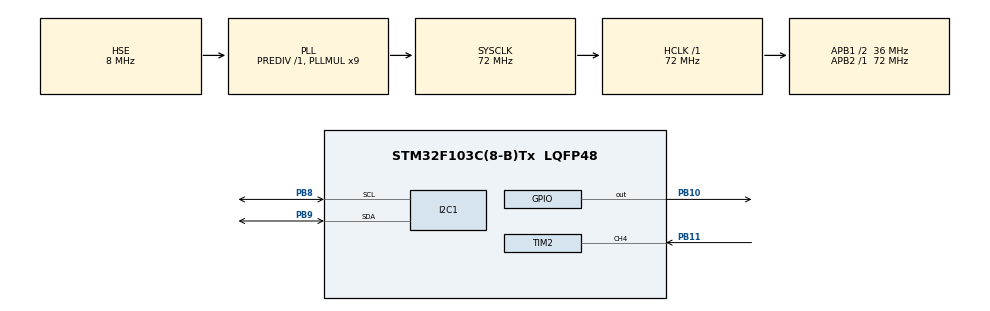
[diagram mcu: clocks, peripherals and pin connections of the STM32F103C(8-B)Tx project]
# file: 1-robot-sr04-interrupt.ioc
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Mcu.Family=STM32F1
Mcu.Name=STM32F103C(8-B)Tx
Mcu.Package=LQFP48
NVIC.PriorityGroup=NVIC_PRIORITYGROUP_4
NVIC.TIM2_IRQn=true\:0\:0\:false\:false\:true\:true\:true\:true
PB10.Signal=GPIO_Output
PB11.Signal=S_TIM2_CH4
PB8.Mode=I2C
PB8.Signal=I2C1_SCL
PB9.Mode=I2C
PB9.Signal=I2C1_SDA
PD0-OSC_IN.Mode=HSE-External-Oscillator
PD0-OSC_IN.Signal=RCC_OSC_IN
PD1-OSC_OUT.Mode=HSE-External-Oscillator
PD1-OSC_OUT.Signal=RCC_OSC_OUT
ProjectManager.HeapSize=0x200
ProjectManager.StackSize=0x400
ProjectManager.TargetToolchain=STM32CubeIDE
RCC.AHBFreq_Value=72000000
RCC.APB1CLKDivider=RCC_HCLK_DIV2
RCC.APB1Freq_Value=36000000
RCC.APB1TimFreq_Value=72000000
RCC.APB2Freq_Value=72000000
RCC.APB2TimFreq_Value=72000000
RCC.HCLKFreq_Value=72000000
RCC.PLLMUL=RCC_PLL_MUL9
RCC.PLLSourceVirtual=RCC_PLLSOURCE_HSE
RCC.SYSCLKFreq_VALUE=72000000
RCC.SYSCLKSource=RCC_SYSCLKSOURCE_PLLCLK
RCC.USBFreq_Value=72000000
SH.S_TIM2_CH4.0=TIM2_CH4,Input_Capture4_from_TI4
TIM2.Channel-Input_Capture4_from_TI4=TIM_CHANNEL_4
TIM2.Prescaler=72-1
VP_SYS_VS_ND.Mode=No_Debug
board=custom

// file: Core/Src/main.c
/* USER CODE BEGIN Header */
/**
  ******************************************************************************
  * @file           : main.c
  * @brief          : Main program body
  ******************************************************************************
  * @attention
  *
  * Copyright (c) 2026 STMicroelectronics.
  * All rights reserved.
  *
  * This software is licensed under terms that can be found in the LICENSE file
  * in the root directory of this software component.
  * If no LICENSE file comes with this software, it is provided AS-IS.
  *
  ******************************************************************************
  */
/* USER CODE END Header */
#include "main.h"

/* USER CODE BEGIN Includes */
#include "ssd1306.h"
#include "ssd1306_tests.h"
#include "ssd1306_fonts.h"
/* USER CODE END Includes */

I2C_HandleTypeDef hi2c1;

TIM_HandleTypeDef htim2;

/* USER CODE BEGIN PV */
uint32_t ic_val1 = 0;
uint32_t ic_val2 = 0;
uint8_t  is_first_capture = 0;
uint32_t distance = 0;

uint32_t last_display = 0;
uint32_t last_trigger = 0;

static char buf[32];
/* USER CODE END PV */

void SystemClock_Config(void);
static void MX_GPIO_Init(void);
static void MX_I2C1_Init(void);
static void MX_TIM2_Init(void);

/* USER CODE BEGIN 0 */
void DWT_Init(void)
{
    CoreDebug->DEMCR |= CoreDebug_DEMCR_TRCENA_Msk;
    DWT->CTRL |= DWT_CTRL_CYCCNTENA_Msk;
}

void delay_us(uint32_t us)
{
    uint32_t cycles = (SystemCoreClock / 1000000) * us;
    uint32_t start = DWT->CYCCNT;

    while ((DWT->CYCCNT - start) < cycles);
}

/*
 //it will reset timer 2 so it's not good
void delay (uint16_t time)
{
	__HAL_TIM_SET_COUNTER(&htim2, 0);
	while (__HAL_TIM_GET_COUNTER (&htim2) < time);
}*/

void HCSR04_Trigger(void)
{
    HAL_GPIO_WritePin(GPIOB, GPIO_PIN_10, GPIO_PIN_SET);
    delay_us(10);   // must be real microsecond delay
    HAL_GPIO_WritePin(GPIOB, GPIO_PIN_10, GPIO_PIN_RESET);
}

void HAL_TIM_IC_CaptureCallback(TIM_HandleTypeDef *htim)
{
    if (htim->Instance == TIM2 && htim->Channel == HAL_TIM_ACTIVE_CHANNEL_4)
    {
        if (is_first_capture == 0)
        {
            ic_val1 = HAL_TIM_ReadCapturedValue(htim, TIM_CHANNEL_4);
            is_first_capture = 1;

            // Switch to falling edge
            __HAL_TIM_SET_CAPTUREPOLARITY(htim, TIM_CHANNEL_4, TIM_INPUTCHANNELPOLARITY_FALLING);
        }
        else
        {
            ic_val2 = HAL_TIM_ReadCapturedValue(htim, TIM_CHANNEL_4);

            __HAL_TIM_SET_COUNTER(htim, 0);

            if (ic_val2 > ic_val1)
                distance = ic_val2 - ic_val1;
            else
                distance = (0xFFFF - ic_val1) + ic_val2;

            // Convert to cm
            distance = (distance * 0.0343) / 2;

            is_first_capture = 0;

            // Back to rising edge
            __HAL_TIM_SET_CAPTUREPOLARITY(htim, TIM_CHANNEL_4, TIM_INPUTCHANNELPOLARITY_RISING);
        }
    }
}

void FormatDistance(float distance, char *buf)
{
    int intPart = (int)distance;                  // 123
    int fracPart = (int)((distance - intPart) * 10); // 0.4 -> 4

    // simple formatting into buf
    buf[0] = (intPart / 100) % 10 + '0';
    buf[1] = (intPart / 10) % 10 + '0';
    buf[2] = intPart % 10 + '0';
    buf[3] = '.';
    buf[4] = fracPart % 10 + '0';
    buf[5] = ' ';
    buf[6] = 'c';
    buf[7] = 'm';
    buf[8] = 0; // null-terminate
}

void ssd1306_ShowDistance(float dist)
{
    //float dist = SR04_GetDistanceCm_IT();  // get result from interrupt logic

    ssd1306_Fill(Black);

    // Title
    ssd1306_SetCursor(0, 0);
    ssd1306_WriteString("SR04 Distance", Font_7x10, White);

    ssd1306_SetCursor(0, 16);

    if (dist < 0)
    {
        ssd1306_WriteString("Measuring...", Font_11x18, White);
    }
    else
    {
        // Format text: "123.4 cm"
//    	ssd1306_WriteString("not measuring ...", Font_11x18, White);
//        snprintf(buf, sizeof(buf), "%.1f cm", dist);
        FormatDistance(dist, buf);
        ssd1306_WriteString(buf, Font_16x26, White);
    }

    ssd1306_UpdateScreen();
}
/* USER CODE END 0 */

int main(void)
{

  /* MCU Configuration--------------------------------------------------------*/

  /* Reset of all peripherals, Initializes the Flash interface and the Systick. */
  HAL_Init();

  /* Configure the system clock */
  SystemClock_Config();

  /* Initialize all configured peripherals */
  MX_GPIO_Init();
  MX_I2C1_Init();
  MX_TIM2_Init();
  /* USER CODE BEGIN 2 */
  DWT_Init();
  ssd1306_Init();
  HAL_TIM_IC_Start_IT(&htim2, TIM_CHANNEL_4);
  /* USER CODE END 2 */

  /* Infinite loop */
  /* USER CODE BEGIN WHILE */
  while (1)
  {
	  //ssd1306_TestAll();

	  if (HAL_GetTick() - last_trigger >= 60)
	  {
	          last_trigger = HAL_GetTick();
	          HCSR04_Trigger();
	  }

	  if(HAL_GetTick() - last_display > 200)
	  {
	          last_display = HAL_GetTick();
	          ssd1306_ShowDistance(distance);
	  }

    /* USER CODE END WHILE */

  }
}

void SystemClock_Config(void)
{
  RCC_OscInitTypeDef RCC_OscInitStruct = {0};
  RCC_ClkInitTypeDef RCC_ClkInitStruct = {0};

  /** Initializes the RCC Oscillators according to the specified parameters
  * in the RCC_OscInitTypeDef structure.
  */
  RCC_OscInitStruct.OscillatorType = RCC_OSCILLATORTYPE_HSE;
  RCC_OscInitStruct.HSEState = RCC_HSE_ON;
  RCC_OscInitStruct.HSEPredivValue = RCC_HSE_PREDIV_DIV1;
  RCC_OscInitStruct.HSIState = RCC_HSI_ON;
  RCC_OscInitStruct.PLL.PLLState = RCC_PLL_ON;
  RCC_OscInitStruct.PLL.PLLSource = RCC_PLLSOURCE_HSE;
  RCC_OscInitStruct.PLL.PLLMUL = RCC_PLL_MUL9;
  if (HAL_RCC_OscConfig(&RCC_OscInitStruct) != HAL_OK)
  {
    Error_Handler();
  }

  /** Initializes the CPU, AHB and APB buses clocks
  */
  RCC_ClkInitStruct.ClockType = RCC_CLOCKTYPE_HCLK|RCC_CLOCKTYPE_SYSCLK
                              |RCC_CLOCKTYPE_PCLK1|RCC_CLOCKTYPE_PCLK2;
  RCC_ClkInitStruct.SYSCLKSource = RCC_SYSCLKSOURCE_PLLCLK;
  RCC_ClkInitStruct.AHBCLKDivider = RCC_SYSCLK_DIV1;
  RCC_ClkInitStruct.APB1CLKDivider = RCC_HCLK_DIV2;
  RCC_ClkInitStruct.APB2CLKDivider = RCC_HCLK_DIV1;

  if (HAL_RCC_ClockConfig(&RCC_ClkInitStruct, FLASH_LATENCY_2) != HAL_OK)
  {
    Error_Handler();
  }
}

static void MX_I2C1_Init(void)
{

  hi2c1.Instance = I2C1;
  hi2c1.Init.ClockSpeed = 100000;
  hi2c1.Init.DutyCycle = I2C_DUTYCYCLE_2;
  hi2c1.Init.OwnAddress1 = 0;
  hi2c1.Init.AddressingMode = I2C_ADDRESSINGMODE_7BIT;
  hi2c1.Init.DualAddressMode = I2C_DUALADDRESS_DISABLE;
  hi2c1.Init.OwnAddress2 = 0;
  hi2c1.Init.GeneralCallMode = I2C_GENERALCALL_DISABLE;
  hi2c1.Init.NoStretchMode = I2C_NOSTRETCH_DISABLE;
  if (HAL_I2C_Init(&hi2c1) != HAL_OK)
  {
    Error_Handler();
  }

}

static void MX_TIM2_Init(void)
{

  TIM_MasterConfigTypeDef sMasterConfig = {0};
  TIM_IC_InitTypeDef sConfigIC = {0};

  htim2.Instance = TIM2;
  htim2.Init.Prescaler = 72-1;
  htim2.Init.CounterMode = TIM_COUNTERMODE_UP;
  htim2.Init.Period = 65535;
  htim2.Init.ClockDivision = TIM_CLOCKDIVISION_DIV1;
  htim2.Init.AutoReloadPreload = TIM_AUTORELOAD_PRELOAD_DISABLE;
  if (HAL_TIM_IC_Init(&htim2) != HAL_OK)
  {
    Error_Handler();
  }
  sMasterConfig.MasterOutputTrigger = TIM_TRGO_RESET;
  sMasterConfig.MasterSlaveMode = TIM_MASTERSLAVEMODE_DISABLE;
  if (HAL_TIMEx_MasterConfigSynchronization(&htim2, &sMasterConfig) != HAL_OK)
  {
    Error_Handler();
  }
  sConfigIC.ICPolarity = TIM_INPUTCHANNELPOLARITY_RISING;
  sConfigIC.ICSelection = TIM_ICSELECTION_DIRECTTI;
  sConfigIC.ICPrescaler = TIM_ICPSC_DIV1;
  sConfigIC.ICFilter = 0;
  if (HAL_TIM_IC_ConfigChannel(&htim2, &sConfigIC, TIM_CHANNEL_4) != HAL_OK)
  {
    Error_Handler();
  }

}

static void MX_GPIO_Init(void)
{
  GPIO_InitTypeDef GPIO_InitStruct = {0};

  /* GPIO Ports Clock Enable */
  __HAL_RCC_GPIOD_CLK_ENABLE();
  __HAL_RCC_GPIOB_CLK_ENABLE();

  /*Configure GPIO pin Output Level */
  HAL_GPIO_WritePin(GPIOB, GPIO_PIN_10, GPIO_PIN_RESET);

  /*Configure GPIO pin : PB10 */
  GPIO_InitStruct.Pin = GPIO_PIN_10;
  GPIO_InitStruct.Mode = GPIO_MODE_OUTPUT_PP;
  GPIO_InitStruct.Pull = GPIO_NOPULL;
  GPIO_InitStruct.Speed = GPIO_SPEED_FREQ_LOW;
  HAL_GPIO_Init(GPIOB, &GPIO_InitStruct);

}

void Error_Handler(void)
{
  __disable_irq();
  while (1)
  {
  }
}
